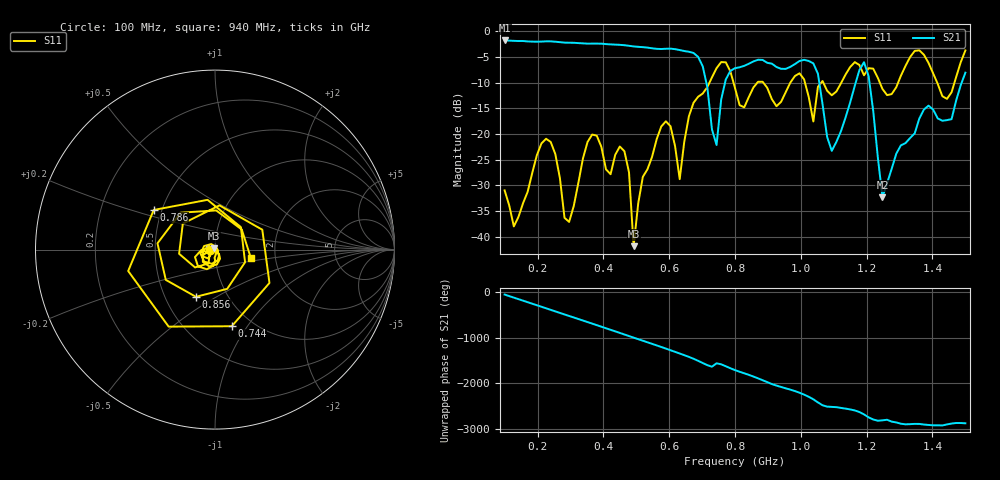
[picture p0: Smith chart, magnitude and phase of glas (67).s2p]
! NanoVNA-App
! Date: 2025-09-25 15:56:00
! Start: 100MHz Stop: 1,5GHz Points: 101
! S-Parameter data: F S11 S21 S12 S22
# Hz S RI R 50
!  Frequency  S11_Real  S11_Imag  S21_Real  S21_Imag  S12_Real  S12_Imag  S22_Real  S22_Imag
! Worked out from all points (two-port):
!   101 points, 100 MHz to 1.5 GHz, reference 50 ohm
!   highest |S21| = -1.80 dB at 100 MHz (marker M1); lowest = -32.3 dB at 1.248 GHz (marker M2)
!   |S21| within 3 dB of the highest: start of sweep to 684.3 MHz
!   lowest |S11| = -41.8 dB at 492 MHz (marker M3), VSWR 1.02, Z = 49.5 + j0.639 ohm
!   |S11| at or under -10 dB: start of sweep to 722.5 MHz; 795.5 MHz to 868 MHz (72.57 MHz wide, 8.73 % of centre); 886 MHz to 968.1 MHz (82.15 MHz wide, 8.86 % of centre) (the widest 3 of 7)
!   S12 and S22 are empty: the file has one direction only
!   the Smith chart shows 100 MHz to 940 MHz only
!   S11 on the Smith chart (normalised r, x): 100 MHz: 0.95, -0.01; 744 MHz: 0.81, -0.85; 786 MHz: 0.45, +0.24; 856 MHz: 0.71, -0.41; 940 MHz: 1.49, -0.15
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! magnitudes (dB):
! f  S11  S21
! 100 MHz  -31.0  -1.8
! 128 MHz  -38.0  -1.9
! 226 MHz  -20.9  -2.0
! 296 MHz  -37.1  -2.2
! 338 MHz  -24.8  -2.4
! 464 MHz  -23.3  -2.7
! 492 MHz  -41.8  -3.0
! 576 MHz  -18.5  -3.5
! 632 MHz  -28.8  -3.7
! 702 MHz  -12.1  -6.8
! 744 MHz  -7.2  -22.1
! 786 MHz  -7.8  -7.7
! 800 MHz  -11.0  -7.2
! 856 MHz  -10.9  -5.9
! 940 MHz  -13.7  -7.3
! 996 MHz  -8.2  -5.8
! 1.038 GHz  -17.6  -6.3
! 1.094 GHz  -12.5  -23.3
! 1.192 GHz  -8.6  -6.0
! 1.248 GHz  -11.2  -32.3
! 1.276 GHz  -12.2  -26.8
! 1.5 GHz  -3.7  -8.1
